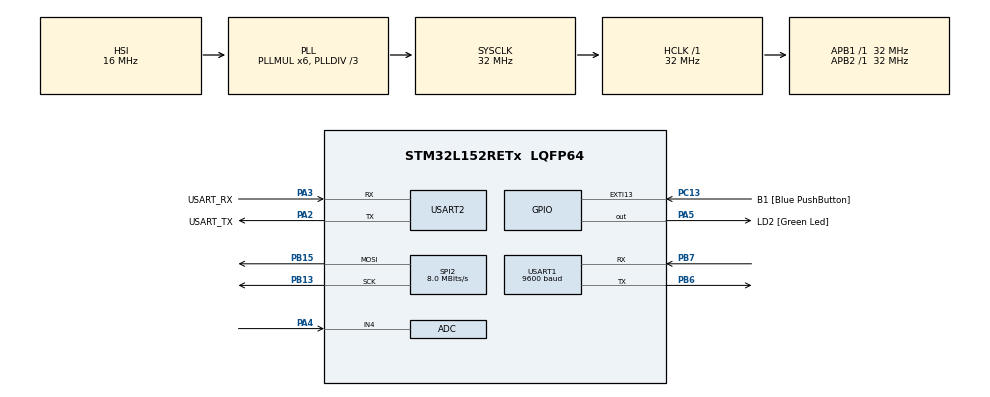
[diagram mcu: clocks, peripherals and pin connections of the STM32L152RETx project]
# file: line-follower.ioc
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ADC.Channel-0\#ChannelRegularConversion=ADC_CHANNEL_4
ADC.NbrOfConversionFlag=1
ADC.Rank-0\#ChannelRegularConversion=1
ADC.SamplingTime-0\#ChannelRegularConversion=ADC_SAMPLETIME_4CYCLES
Mcu.Family=STM32L1
Mcu.Name=STM32L152RETx
Mcu.Package=LQFP64
NVIC.PriorityGroup=NVIC_PRIORITYGROUP_0
NVIC.USART1_IRQn=true\:0\:0\:false\:false\:true\:true\:true\:true
PA13.GPIO_Label=TMS
PA13.Mode=Serial_Wire
PA13.Signal=SYS_JTMS-SWDIO
PA14.GPIO_Label=TCK
PA14.Mode=Serial_Wire
PA14.Signal=SYS_JTCK-SWCLK
PA2.GPIO_Label=USART_TX
PA2.Mode=Asynchronous
PA2.Signal=USART2_TX
PA3.GPIO_Label=USART_RX
PA3.Mode=Asynchronous
PA3.Signal=USART2_RX
PA4.Mode=IN4
PA4.Signal=ADC_IN4
PA5.GPIO_Label=LD2 [Green Led]
PA5.Signal=GPIO_Output
PB13.Mode=TX_Only_Simplex_Unidirect_Master
PB13.Signal=SPI2_SCK
PB15.Mode=TX_Only_Simplex_Unidirect_Master
PB15.Signal=SPI2_MOSI
PB3.GPIO_Label=SWO
PB3.Signal=SYS_JTDO-TRACESWO
PB6.Mode=Asynchronous
PB6.Signal=USART1_TX
PB7.Mode=Asynchronous
PB7.Signal=USART1_RX
PC13-WKUP2.GPIO_Label=B1 [Blue PushButton]
PC13-WKUP2.Signal=GPXTI13
PC14-OSC32_IN.Mode=LSE-External-Oscillator
PC14-OSC32_IN.Signal=RCC_OSC32_IN
PC15-OSC32_OUT.Mode=LSE-External-Oscillator
PC15-OSC32_OUT.Signal=RCC_OSC32_OUT
PH0-OSC_IN.Mode=HSE-External-Clock-Source
PH0-OSC_IN.Signal=RCC_OSC_IN
PH1-OSC_OUT.Signal=RCC_OSC_OUT
ProjectManager.HeapSize=0x200
ProjectManager.StackSize=0x400
ProjectManager.TargetToolchain=STM32CubeIDE
RCC.48MHZClocksFreq_Value=48000000
RCC.AHBFreq_Value=32000000
RCC.APB1Freq_Value=32000000
RCC.APB1TimFreq_Value=32000000
RCC.APB2Freq_Value=32000000
RCC.APB2TimFreq_Value=32000000
RCC.HCLKFreq_Value=32000000
RCC.HSE_VALUE=8000000
RCC.HSI_VALUE=16000000
RCC.MSI_VALUE=2097000
RCC.PLLDIV=RCC_PLL_DIV3
RCC.PLLMUL=RCC_PLL_MUL6
RCC.RTCClockSelectionVirtual=RCC_RTCCLKSOURCE_LSE
RCC.SYSCLKFreq_VALUE=32000000
RCC.SYSCLKSource=RCC_SYSCLKSOURCE_PLLCLK
RCC.USBOutput=48000000
RCC.VCOOutputFreq_Value=96000000
SPI2.BaudRatePrescaler=SPI_BAUDRATEPRESCALER_4
SPI2.CLKPhase=SPI_PHASE_1EDGE
SPI2.CLKPolarity=SPI_POLARITY_LOW
SPI2.CalculateBaudRate=8.0 MBits/s
SPI2.DataSize=SPI_DATASIZE_16BIT
SPI2.Direction=SPI_DIRECTION_2LINES
SPI2.Mode=SPI_MODE_MASTER
SPI2.VirtualType=VM_MASTER
USART1.BaudRate=9600
USART1.VirtualMode=VM_ASYNC
USART2.VirtualMode=VM_ASYNC
VP_TIM2_VS_ClockSourceINT.Mode=Internal
VP_TIM3_VS_ClockSourceINT.Mode=Internal
VP_TIM4_VS_ClockSourceINT.Mode=Internal
board=NUCLEO-L152RE

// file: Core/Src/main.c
/* USER CODE BEGIN Header */
/**
 ******************************************************************************
 * @file           : main.c
 * @brief          : Main program body
 ******************************************************************************
 */
/* USER CODE END Header */
#include "main.h"

/* USER CODE BEGIN Includes */
#include <inttypes.h>
#include <stdbool.h>

#ifdef PRINT_DEBUG
#include <stdio.h>
#endif
/* USER CODE END Includes */

/* USER CODE BEGIN PTD */

typedef enum { MOTOR_STOP, MOTOR_FORWARD, MOTOR_BACKWARD } MotorState;

typedef enum { BUZZER_ON, BUZZER_OFF, BUZZER_INTERMITTENT } BuzzerMode;

typedef enum { MODE_MANUAL, MODE_AUTOMATIC } OperationMode;

/* USER CODE END PTD */

/* USER CODE BEGIN PD */

// TIM4 is set up with a PSC of 31999, meaning that it will increase
// in count once every 1ms
//
// Toggle buzzer once every 0.3s
#define BUZZER_TOGGLE_TIME 300
// Run the ADC once every 0.2s
#define ADC_TRIGGER_TIME 200

// MAX and MIN values are chosen by MAX being the maximum resolution
// of the ADC that has been set and MIN can be any arbitrary number
// between MAX and 0. The combination of both is used to control
// possible speed values of the motors
#define MAX_SPEED_CONTROL_VALUE 1024
#define MIN_SPEED_CONTROL_VALUE 350
// LED matrix display brightness. 0-F.
#define DISPLAY_BRIGHTNESS 0
#define DISPLAY_TX_TIMEOUT 1

#define UART_BUFFER_SIZE 10
#define UART_TIMEOUT 10

#define REPORT_MSG_MAX_LENGTH 64

#define HALF_RPMS_PER_TIM2_TICK 150000
// HALF_RPMS_PER_TIM2_TICK is calculated as:
//        DISC_SLITS = 20
//        TIM2_TICK_uS = (1e6 * (TIM2_PSC + 1) / 32e6)
//        RPMS_PER_TIM2_TICK = 1e6 * 60 / (DISC_SLITS * TIM2_TICK_uS) = 30000
//        HALF_RPMS_PER_TIM2_TICK = RPMS_PER_TIM2_TICK / 2 = 150000

/* USER CODE END PD */

ADC_HandleTypeDef hadc;

SPI_HandleTypeDef hspi2;

TIM_HandleTypeDef htim2;
TIM_HandleTypeDef htim3;
TIM_HandleTypeDef htim4;

UART_HandleTypeDef huart1;
UART_HandleTypeDef huart2;

/* USER CODE BEGIN PV */

// Report templates
static const char* TEMPLATE_STATUS = "($M) $L : $R @ $p% of $s ($l : $r rpm)\n";
static const char* TEMPLATE_STATUS_SHORT = "$M>$L:$R@$p%$s($l:$r)\n";

// Display designs
static const uint64_t speedometer_display[8] = {
    0x3804022222222438,  // speedometer_1.txt
    0x3804022222120c38,  // speedometer_2.txt
    0x38040222120a0438,  // speedometer_3.txt
    0x380402221e020438,  // speedometer_4.txt
    0x3804021e22020438,  // speedometer_5.txt
    0x38040a1222020438,  // speedometer_6.txt
    0x380c122222020438,  // speedometer_7.txt
    0x3824222222020438,  // speedometer_8.txt
};

OperationMode current_mode = MODE_MANUAL;
MotorState right_motor_state = MOTOR_STOP;
MotorState left_motor_state = MOTOR_STOP;
uint8_t speed_modifier = 100;  // value range is [0, 100] (both inclusive)
uint16_t current_speed = 0;    // value range is defined by MAX/MIN_SPEED_CONTROL_VALUE
// Not expecting these to go over 255...
uint8_t measured_rpm_right = 0;
uint8_t measured_rpm_left = 0;

char uart1_receive_buffer[UART_BUFFER_SIZE];
char uart1_receive_byte = 0;
uint8_t uart1_receive_buffer_index = 0;

/* USER CODE END PV */

void SystemClock_Config(void);
static void MX_GPIO_Init(void);
static void MX_USART1_UART_Init(void);
static void MX_USART2_UART_Init(void);
static void MX_ADC_Init(void);
static void MX_SPI2_Init(void);
static void MX_TIM2_Init(void);
static void MX_TIM3_Init(void);
static void MX_TIM4_Init(void);

/* USER CODE BEGIN 0 */
#if PRINT_DEBUG
// Provide a _write that printf and similar will use to write to serial
int _write(int file, char* message, int len) {
    HAL_UART_Transmit(&huart2, (uint8_t*) message, len, 1000);
    return len;
}
#else
// An empty define will make is that any uses of printf will just
// be consumed and treated as noop calls
#define printf
#endif  // PRINT_DEBUG

// All these inline static functions are short pieces of code used in more
// than one place. As such, and to streamline potentially updating their functionality,
// they are extracted in code, but inlined at compile time to avoid any runtime penalties
// from function calls.

inline __attribute__((always_inline)) void display_send(
    SPI_HandleTypeDef* hspi, GPIO_TypeDef* cs_port, uint8_t cs_pin, uint16_t data
) {
    cs_port->BSRR |= 1 << (cs_pin + 16);  // Reset pin -> LOW -> Chip Selected
    // HAL_SPI_Transmit signature doesn't change based on whether 16 bit words or
    // 8 bit words is selected, but the functionality does. Actually, the function
    // is a pointer to 16 bit, not 8. The cast is used to silence the warning.
    HAL_SPI_Transmit(hspi, (uint8_t*) (&data), 1, DISPLAY_TX_TIMEOUT);
    cs_port->BSRR |= 1 << cs_pin;  // Set pin -> HIGH -> Chip Deselected
}

/**
 * @brief Send a pattern to display on an 8x8 LED matrix found through hspi. Expects SPI and GPIO set up.
 * @param hspi SPI Handler from HAL
 * @param pattern 8-byte pattern containing the on-pattern to be displayed. Each byte corresponds to one
 * column and each bit in the byte corresponds to one one row. The order in the pattern is left-to-right,
 * top-to-bottom in in Big-endian reading order (MSB first)
 */
inline __attribute__((always_inline)) void display_draw(
    SPI_HandleTypeDef* hspi, GPIO_TypeDef* cs_port, uint8_t cs_pin, uint64_t pattern
) {
    // Each column is addressed by setting the column number (1..8) in the third half-byte, and the
    // content in the first byte.
    // For a pattern 0xABCDEFGHIJKLMNOP, we will send 0x01AB, 0x02CD, 0x03EF, 0x04GH, 0x05IJ, 0x06KL, etc.
    uint8_t* lines = (uint8_t*) &pattern;
    for (uint8_t i = 1; i <= 8; i++) {  // Loop through the columns 1..8
        uint16_t pattern_instruction = (i << 8) | lines[i - 1];
        display_send(hspi, cs_port, cs_pin, pattern_instruction);
    }
}

inline static __attribute__((always_inline)) void sleep(unsigned short milliseconds) {
    // TIM4 CH1 is used for sleeps, which MUST have been setup by the time this is used.
    // It must be setup with millisecond precision (PSC = 31999)
    //
    // Setup counter with value to reach
    TIM4->CCR1 = TIM4->CNT + milliseconds;  // Set value to reach
    TIM4->SR &= ~0b10;                      // Clear any lingering events

    // Wait
    while ((TIM4->SR & 0b10) == 0) {}

    // Clear event
    TIM4->SR &= ~0b10;
}

// This is optimized correctly and adds clarity
inline static __attribute__((always_inline)) void set_buzzer(BuzzerMode status) {
    TIM4->CCMR2 &= ~(0x00FF);  // Clear CH3 info

    // Set OCEM to 0b100 (low) to turn buzzer ON, to 0b101 (high) to turn it OFF
    // It is also initially turned ON for INTERMITTENT mode
    TIM4->CCMR2 |= (status == BUZZER_OFF ? 0b101 : 0b100) << 4;

    if (status == BUZZER_INTERMITTENT) {
        // Setup periodic changes
        TIM4->CCR3 = TIM4->CNT + BUZZER_TOGGLE_TIME;  // Set the value to reach
        TIM4->CCMR2 &= ~(0x00FF);                     // Clear CH3 info
        TIM4->CCMR2 |= 0b011 << 4;                    // OC3M = 011 (toggle external output)
    }
}

/**
 * @brief Update the robot's feedback systems. These include the buzzer, LED matrix, and Bluetooth
 * notifications
 */
inline static __attribute__((always_inline)) void update_feedback() {
    if (right_motor_state == left_motor_state) {
        // Both motors are in the same state -> either Forward, Backward or Stopped
        // Reading one motor's status is enough from this point on.
        //
        // Splitting with an IF allows for nicer compiler optimizations in each of the paths
        if (right_motor_state == MOTOR_FORWARD) {
            set_buzzer(BUZZER_OFF);
            HAL_UART_Transmit(&huart1, (uint8_t*) "Moving forward\n", 15, UART_TIMEOUT);
        } else {
            set_buzzer(BUZZER_ON);
            HAL_UART_Transmit(&huart1, (uint8_t*) "Stopped\n", 8, UART_TIMEOUT);
        }
    } else {
        set_buzzer(BUZZER_INTERMITTENT);

        const char* msg = right_motor_state == MOTOR_FORWARD ? "Turning left \n" : "Turning right\n";
        HAL_UART_Transmit(&huart1, (uint8_t*) msg, 14, UART_TIMEOUT);
    }
}

inline static __attribute__((always_inline)) void update_right_motor() {
    switch (right_motor_state) {
        case MOTOR_FORWARD:
            TIM3->CCR3 = current_speed * speed_modifier / 100;
            TIM3->CCR4 = 0;
            break;
        case MOTOR_BACKWARD:
            TIM3->CCR3 = 0;
            TIM3->CCR4 = current_speed * speed_modifier / 100;
            break;
        default:
            TIM3->CCR3 = 0;
            TIM3->CCR4 = 0;
            measured_rpm_right = 0;
            break;
    }
}

inline static __attribute__((always_inline)) void update_left_motor() {
    switch (left_motor_state) {
        case MOTOR_FORWARD:
            TIM3->CCR1 = current_speed * speed_modifier / 100;
            TIM3->CCR2 = 0;
            break;
        case MOTOR_BACKWARD:
            TIM3->CCR1 = 0;
            TIM3->CCR2 = current_speed * speed_modifier / 100;
            break;
        default:
            TIM3->CCR1 = 0;
            TIM3->CCR2 = 0;
            measured_rpm_left = 0;
            break;
    }
}

inline static __attribute__((always_inline)) void right_ir_update() {
    right_motor_state = ((GPIOC->IDR & (1 << 1)) == 0) ? MOTOR_FORWARD : MOTOR_STOP;
}

inline static __attribute__((always_inline)) void left_ir_update() {
    left_motor_state = ((GPIOC->IDR & (1 << 2)) == 0) ? MOTOR_FORWARD : MOTOR_STOP;
}

inline static __attribute__((always_inline)) void set_manual_mode() {
    current_mode = MODE_MANUAL;

    GPIOA->BSRR = 1 << 5;  // Turn on indicator LED
    // IMPORTANT: When setting ICER, do not use any bitwise operators or the
    // whole registry will get flushed!!
    NVIC->ICER[0] = 1 << 7;  // Disable EXTI1 handler (IR1)
    NVIC->ICER[0] = 1 << 8;  // Disable EXTI2 handler (IR2)

    // Stop motors
    right_motor_state = MOTOR_STOP;
    left_motor_state = MOTOR_STOP;
    update_right_motor();
    update_left_motor();
    // Disable the buzzer
    TIM4->CCMR2 &= ~(0x00FF);   // Clear CH3 info
    TIM4->CCMR2 |= 0b101 << 4;  // Force output to high (101) -> turn buzzer off
}

inline static __attribute__((always_inline)) void set_automatic_mode() {
    current_mode = MODE_AUTOMATIC;

    GPIOA->BSRR = 1 << (5 + 16);  // Turn off indicator LED
    NVIC->ISER[0] = 1 << 7;       // Enable EXTI1 handler (IR1)
    NVIC->ISER[0] = 1 << 8;       // Enable EXTI2 handler (IR2)

    // Initial update
    right_ir_update();
    left_ir_update();
    update_right_motor();
    update_left_motor();
    update_feedback();
}

/**
 * @brief Send a status report over UART1
 *
 * @param template A string template for the report sent. The following fields are supported:
 * $M -> Operating mode: A|M (len=1)
 * $L -> Left motor status: -1|0|1 (len=2)
 * $R -> Right motor status: -1|0|1 (len=2)
 * $l -> Left motor rpm: [0..99] (len=2)
 * $r -> Right motor rpm: [0..99] (len=2)
 * $s -> Speed value from potentiometer: [MIN..MAX] (len=4)
 * $p -> Speed modifier: [0..100] (len=3)
 */
inline static __attribute__((always_inline)) void send_status_report(const char* template) {
    char msg[REPORT_MSG_MAX_LENGTH];

    uint16_t n = 0;  // Number of characters set

    for (int i = 0; template[i] != '\0'; i++) {
        if (template[i] != '$') {  // Not a field -> Copy the character into out
            msg[n++] = template[i];
            continue;  // Having an early continue reduces indentation
        }
        // Field replacing
        switch (template[++i]) {
            case 'M':
                msg[n++] = (current_mode == MODE_MANUAL) ? 'M' : 'A';
                break;
            case 'L':
                msg[n++] = (left_motor_state == MOTOR_BACKWARD) ? '-' : ' ';
                msg[n++] = (left_motor_state == MOTOR_STOP) ? '0' : '1';
                break;
            case 'R':
                msg[n++] = (right_motor_state == MOTOR_BACKWARD) ? '-' : ' ';
                msg[n++] = (right_motor_state == MOTOR_STOP) ? '0' : '1';
                break;
            case 'l':
                msg[n++] = measured_rpm_left / 10 + '0';
                msg[n++] = measured_rpm_left % 10 + '0';
                break;
            case 'r':
                msg[n++] = measured_rpm_right / 10 + '0';
                msg[n++] = measured_rpm_right % 10 + '0';
                break;
            case 'p':
                msg[n++] = (speed_modifier == 100) ? '1' : ' ';
                msg[n++] = (speed_modifier < 10) ? ' ' : (speed_modifier / 10) % 10 + '0';
                msg[n++] = (speed_modifier % 10) + '0';
                break;
            case 's':
                msg[n++] = (current_speed < 1000) ? ' ' : current_speed / 1000 + '0';
                msg[n++] = (current_speed < 100) ? ' ' : (current_speed / 100) % 10 + '0';
                msg[n++] = (current_speed < 10) ? ' ' : (current_speed / 10) % 10 + '0';
                msg[n++] = current_speed % 10 + '0';
                break;
            default:
                msg[n++] = '?';
                break;
        }
    }

    HAL_UART_Transmit(&huart1, (uint8_t*) msg, n, UART_TIMEOUT);
}

// UART1 is the bluetooth module
void HAL_UART_RxCpltCallback(UART_HandleTypeDef* huart) {
    uart1_receive_buffer[uart1_receive_buffer_index++] = uart1_receive_byte;
    HAL_UART_Receive_IT(huart, (uint8_t*) &uart1_receive_byte, 1);

    if (uart1_receive_buffer_index + 1 >= UART_BUFFER_SIZE) {
        // Unexpected: we received too many bytes, so just "flush" the data and do nothing with it
        uart1_receive_buffer_index = 0;
        return;
    }

    if (uart1_receive_byte == '\n') {
        // Switches should be efficient enough as they are precomputed gotos
        //
        // Possible commands are:
        //    'f' -> go forwards
        //    'b' -> go backwards
        //    'r' -> turn right
        //    'l' -> turn left
        //    's' -> stop motors
        //    'v{value}' -> Set speed to {value}
        switch (uart1_receive_buffer[0]) {
            case 'f':
                right_motor_state = MOTOR_FORWARD;
                left_motor_state = MOTOR_FORWARD;
                break;
            case 'b':
                right_motor_state = MOTOR_BACKWARD;
                left_motor_state = MOTOR_BACKWARD;
                break;
            case 'r':
                right_motor_state = MOTOR_BACKWARD;
                left_motor_state = MOTOR_FORWARD;
                break;
            case 'l':
                right_motor_state = MOTOR_FORWARD;
                left_motor_state = MOTOR_BACKWARD;
                break;
            case 's':
                right_motor_state = MOTOR_STOP;
                left_motor_state = MOTOR_STOP;
                break;
            case 'v':
                // Extract the number after the 'v'
                uint8_t num = strtoumax((char*) uart1_receive_buffer + 1, NULL, 10);

                if (num <= 100) {
                    speed_modifier = num;
                } else {
                    HAL_UART_Transmit(&huart1, (uint8_t*) "ERR:2\n", 6, UART_TIMEOUT);
                }
                break;
            case 'm':
                set_manual_mode();
                break;
            case 'a':
                HAL_UART_Transmit(&huart1, (uint8_t*) "Starting!\n", 10, UART_TIMEOUT);
                set_automatic_mode();
                break;
            case '?':
                send_status_report(TEMPLATE_STATUS);
                break;
            default:
                HAL_UART_Transmit(&huart1, (uint8_t*) "ERR:1\n", 6, UART_TIMEOUT);
                break;
        }

        update_right_motor();
        update_left_motor();

        uart1_receive_buffer_index = 0;
    }
}

// EXTI1 belongs to IR1 (right)
void EXTI1_IRQHandler() {
    EXTI->PR |= 1 << 1;  // Flag is cleared first because the IR are really finicky and
                         // they will fire several times. This way, we can ensure we don't
                         // end up with the wrong state, as EXTI will notice any other changes
                         // while we compute anything

    right_ir_update();
    update_right_motor();
    update_feedback();
}

// EXTI2 belongs to IR2 (left)
void EXTI2_IRQHandler() {
    EXTI->PR |= 1 << 2;  // Flag is cleared first because the IR are really finicky and
                         // will fire multiple times per change. Setting the flag first
                         // ensures the EXTI will warn us about any changes that can
                         // happen during the handling of the event, as well as
                         // not reading wrong information from the IDR

    left_ir_update();
    update_left_motor();
    update_feedback();
}

void ADC1_IRQHandler() {
    // Limit the value to not go lower than MIN_ADC_VALUE
    current_speed = ADC1->DR < MIN_SPEED_CONTROL_VALUE ? MIN_SPEED_CONTROL_VALUE : ADC1->DR;

    uint8_t level = (current_speed - MIN_SPEED_CONTROL_VALUE) /
                    ((MAX_SPEED_CONTROL_VALUE - MIN_SPEED_CONTROL_VALUE) / 8 + 1);

    display_draw(&hspi2, GPIOB, 1, speedometer_display[level]);

    update_right_motor();
    update_left_motor();
}

void TIM2_IRQHandler() {
    // Used so we can actually measure time lapsed
    static uint16_t count_start_left;
    static uint16_t count_start_right;
    // Used to average out the last two recorded intervals
    static uint16_t last_interval_left;
    static uint16_t last_interval_right;
    // This is where the current measurement will be stored
    uint16_t interval;

    if (TIM2->SR & 1 << 3) {
        // Channel 3 (left optocoupler) triggered

        // Must account for timer rolling over
        interval = (TIM2->CCR3 > count_start_left ? 0 : 0xFFFF) + TIM2->CCR3 - count_start_left;

        // Since we're averaging the last two measurements, we'll halve the factor.
        measured_rpm_left = HALF_RPMS_PER_TIM2_TICK / (interval + last_interval_left);

        last_interval_left = interval;
        count_start_left = TIM2->CNT;

        TIM2->SR &= ~(1 << 3);  // Clear flag

    } else if (TIM2->SR & (1 << 4)) {
        // Channel 4 (right optocoupler) triggered

        // Must account for timer rolling over
        interval = (TIM2->CCR4 > count_start_right ? 0 : 0xFFFF) + TIM2->CCR4 - count_start_right;

        // Since we're averaging the last two measurements, we'll halve the factor.
        measured_rpm_right = HALF_RPMS_PER_TIM2_TICK / (interval + last_interval_right);

        last_interval_right = interval;
        count_start_right = TIM2->CNT;

        TIM2->SR &= ~(1 << 4);  // Clear flag
    }
}

void TIM4_IRQHandler() {
    if (TIM4->SR & (1 << 2)) {
        // Channel 2 (ADC trigger) finished
        TIM4->CCR2 = TIM4->CNT + ADC_TRIGGER_TIME;  // Reschedule the timer
        ADC1->CR2 |= 0x40000000;                    // Start the conversion

        TIM4->SR &= ~(1 << 2);  // Clear flag
    } else if (TIM4->SR & (1 << 3)) {
        // Channel 3 (buzzer toggle) finished
        TIM4->CCR3 = TIM4->CNT + BUZZER_TOGGLE_TIME;  // Reschedule the timer

        TIM4->SR &= ~(1 << 3);  // Clear flag
    }
}

/* USER CODE END 0 */

int main(void) {

    /* MCU Configuration--------------------------------------------------------*/

    /* Reset of all peripherals, Initializes the Flash interface and the Systick. */
    HAL_Init();

    /* Configure the system clock */
    SystemClock_Config();

    /* Initialize all configured peripherals */
    MX_GPIO_Init();
    MX_USART1_UART_Init();
    MX_USART2_UART_Init();
    MX_ADC_Init();
    MX_SPI2_Init();
    MX_TIM2_Init();
    MX_TIM3_Init();
    MX_TIM4_Init();
    /* USER CODE BEGIN 2 */

    ////////////////
    // GPIO SETUP //
    ////////////////
    // Digital Input      - 00
    // Digital Output     - 01
    // Alternate Function - 10
    // Analog             - 11

    // IN1 - left wheel forward - Alternate Function (linked to TIMER3 CH1 [AF2])
    GPIOC->MODER |= 1 << (6 * 2 + 1);
    GPIOC->MODER &= ~(1 << (6 * 2));
    GPIOC->AFR[0] |= 0x02 << (6 * 4);
    // IN2 - left wheel backwards - Alternate Function (linked to TIMER3 CH2 [AF2])
    GPIOC->MODER |= 1 << (7 * 2 + 1);
    GPIOC->MODER &= ~(1 << (7 * 2));
    GPIOC->AFR[0] |= 0x02 << (7 * 4);
    // IN3 - right wheel forward - Alternate Function (linked to TIMER3 CH3 [AF2])
    GPIOC->MODER |= 1 << (8 * 2 + 1);
    GPIOC->MODER &= ~(1 << (8 * 2));
    GPIOC->AFR[1] |= 0x02;
    // IN4 - right wheel backwards - Alternate Function (linked to TIMER3 CH4 [AF2])
    GPIOC->MODER |= 1 << (9 * 2 + 1);
    GPIOC->MODER &= ~(1 << (9 * 2));
    GPIOC->AFR[1] |= 0x02 << (1 * 4);

    // IR 1 (right) - Digital Input
    GPIOC->MODER &= ~(1 << (1 * 2 + 1));
    GPIOC->MODER &= ~(1 << (1 * 2));
    // IR 2 (left) - Digital Input
    GPIOC->MODER &= ~(1 << (2 * 2 + 1));
    GPIOC->MODER &= ~(1 << (2 * 2));

    // PB10 - Left optocoupler speed sensor - Alternate Function (linked to TIMER2 CH3 [AF1])
    GPIOB->MODER |= 1 << (10 * 2 + 1);
    GPIOB->MODER &= ~(1 << (10 * 2));
    GPIOB->AFR[1] |= 0x01 << (2 * 4);
    // PB11 - Right optocoupler speed sensor - Alternate Function (linked to TIMER2 CH4 [AF1])
    GPIOB->MODER |= 1 << (11 * 2 + 1);
    GPIOB->MODER &= ~(1 << (11 * 2));
    GPIOB->AFR[1] |= 0x01 << (3 * 4);

    // Potentiometer input - Analog
    GPIOA->MODER |= 1 << (4 * 2 + 1);
    GPIOA->MODER |= 1 << (4 * 2);

    // Buzzer - Alternate Function (linked to TIMER4 CH3 [AF2])
    GPIOB->MODER |= 1 << (8 * 2 + 1);
    GPIOB->MODER &= ~(1 << (8 * 2));
    GPIOB->AFR[1] |= 0x02;

    // User button - Digital Input
    GPIOC->MODER &= ~(1 << (13 * 2 + 1));
    GPIOC->MODER &= ~(1 << (13 * 2));

    // Green LED - Digital Output
    GPIOA->MODER &= ~(1 << (5 * 2 + 1));
    GPIOA->MODER |= 1 << (5 * 2);

    // LED Matrix Chip Select - Digital Output
    GPIOB->MODER &= ~(1 << (1 * 2 + 1));
    GPIOB->MODER |= 1 << (1 * 2);

    ////////////////
    // EXTI SETUP //
    ////////////////

    // IR 1 (PC1)
    SYSCFG->EXTICR[0] &= ~(0b1111 << 4);  // Reset EXTI1 settings
    SYSCFG->EXTICR[0] |= 0b0010 << 4;     // Associate PC1 its EXTI (EXTI1)
    EXTI->RTSR |= 1 << 1;                 // Enable rising edge for EXTI1
    EXTI->FTSR |= 1 << 1;                 // Enable falling edge for EXTI1
    EXTI->IMR |= 1 << 1;                  // Unmask EXTI1
    // Interrupt handler is enabled/disabled based on working mode

    // IR 2 (PC2)
    SYSCFG->EXTICR[0] &= ~(0b1111 << 8);  // Reset EXTI2 settings
    SYSCFG->EXTICR[0] |= 0b0010 << 8;     // Associate PC2 its EXTI (EXTI2)
    EXTI->RTSR |= 1 << 2;                 // Enable rising edge for EXTI2
    EXTI->FTSR |= 1 << 2;                 // Enable falling edge for EXTI2
    EXTI->IMR |= 1 << 2;                  // Unmask EXTI2
    // Interrupt handler enabled/disabled based on working mode

    ///////////////////////
    // ADC CONFIGURATION //
    ///////////////////////
    ADC1->CR2 &= ~(0x00000001);  // ADON = 0 (ADC powered off)
    ADC1->CR1 = 0x01000020;      // OVRIE = 0 (Overrun IRQ disabled)
                                 // RES = 01 (resolution = 10 bits)
                                 // SCAN = 0 (scan mode disabled)
                                 // EOCIE = 1 (EOC IRQ enabled)
    ADC1->CR2 = 0x00000400;      // EOCS = 1 (EOC to be activated after each conversion)
                                 // DELS = 000 (no delay)
                                 // CONT = 0 (single conversion)
                                 //   Conversions are started based on TIM4 CH2
    ADC1->SQR1 = 0x00000000;     // 1 channel in the sequence
    ADC1->SQR5 = 0x00000004;     // Channel is AIN4
    ADC1->CR2 |= 0x00000001;     // ADON = 1 (ADC powered on)
    NVIC->ISER[0] = 1 << 18;     // Enable the ADC interrupt

    while ((ADC1->SR & 0x0040) == 0) {}  // Wait for the converter to be ready
    // Conversion will be started by timer

    ////////////////
    // TIM2 SETUP //
    ////////////////
    // Used for optical speed measurement
    TIM2->CR1 = 0x0000;   // CKD, CMS, DIR, OPM, URS, UDIS = 0
                          // ARPE = 0 (ARR not used)
                          // CEN = 0 (will be enabled later when needed)
    TIM2->CR2 = 0x0000;   // Unused, recommended to set to 0x0000
    TIM2->PSC = 319;      // Usually 319 to allow for 0.01 milliseconds precision and up to 650 ms interval
    TIM2->SMCR = 0x0000;  // Unused, recommended to set to 0x0000
    TIM2->ARR = 0xFFFF;   // Unused, recommended to set to 0xFFFF

    // Channel 3
    // Linked to PB10 (left optocoupler)
    TIM2->CCMR2 &= ~(0xFF);         // Clear CH3 info
    TIM2->CCMR2 |= 0b01;            // CC3S = 01 (TIC)
                                    // IC3F, IC1PSC = 0 (as advised)
    TIM2->CCER &= ~(0xF << 2 * 4);  // Clear CH3 info
    TIM2->CCER |= 0b0001 << 2 * 4;  // CC3E = 1 (capture enabled)
                                    // CC3NP:CC3P = 00 (rising edge)
    TIM2->DIER |= 1 << 3;           // CC3IE = 1 (enable IRQ)

    // Channel 4
    // Linked to PB11 (right optocoupler)
    TIM2->CCMR2 &= ~(0xFF << 8);    // Clear CH1 info
    TIM2->CCMR2 |= 0b01 << 8;       // CC4S = 01 (TIC)
                                    // IC4F, IC1PSC = 0 (as advised)
    TIM2->CCER &= ~(0xF << 3 * 4);  // Clear CH4 info
    TIM2->CCER |= 0b0001 << 3 * 4;  // CC4E = 1 (capture enabled)
                                    // CC4NP:CC3P = 00 (rising edge)
    TIM2->DIER |= 1 << 4;           // CC4IE = 1 (enable IRQ)

    TIM2->SR = 0;              // Clear any lingering flags
    TIM2->EGR |= 1;            // Generate a register update
    NVIC->ISER[0] |= 1 << 28;  // Enable TIMER4 callback
    TIM2->CR1 |= 1;            // Enable the timer

    ////////////////
    // TIM3 SETUP //
    ////////////////
    TIM3->CR1 = 0x0080;                   // CKD, CMS, DIR, OPM, URS, UDIS = 0
                                          // ARPE = 1 (ARR used)
                                          // CEN = 0 (will be enabled later when needed)
    TIM3->CR2 = 0x0000;                   // Unused, recommended to set to 0x0000
    TIM3->PSC = 319;                      // Allow for sub millisecond precision (0.01 ms precision)
                                          // Allows us to control the motors with proper precision
    TIM3->SMCR = 0x0000;                  // Unused, recommended to set to 0x0000
    TIM3->ARR = MAX_SPEED_CONTROL_VALUE;  // Set to the max value the ADC will output
    TIM3->CNT = 0;                        // Initialize counter at 0
    TIM3->DIER = 0x0000;                  // Disable IRQ for when channels are finished counting

    // Channel 1
    //
    // Linked to PC6
    TIM3->CCR1 = 0;              // Start CCR1 at 0
    TIM3->CCMR1 &= ~(0x00FF);    // Clear CH1 info
    TIM3->CCMR1 |= 0b1101 << 3;  // CC1S = 00 (PWM)
                                 // OC1M = 110 (start PWM high)
                                 // OC1PE = 1 (enable preload)
    TIM3->CCER |= 0b0001;        // CC1NP = 0 (PWM)
                                 // CC1P = 0 (PWM)
                                 // CC1E = 1 (external output enabled)

    // Channel 2
    //
    // Linked to PC7
    TIM3->CCR2 = 0;                    // Start CCR2 at 0
    TIM3->CCMR1 &= ~(0xFF00);          // Clear CH2 info
    TIM3->CCMR1 |= 0b1101 << (3 + 8);  // CC2S = 00 (PWM)
                                       // OC2M = 110 (start PWM high)
                                       // OC2PE = 1 (enable preload)
    TIM3->CCER |= 0b0001 << 4;         // CC2NP = 0 (PWM)
                                       // CC2P = 0 (PWM)
                                       // CC2E = 1 (external output enabled)

    // Channel 3
    //
    // Linked to PC8
    TIM3->CCR3 = 0;                   // Start CCR3 at 0
    TIM3->CCMR2 &= ~(0x00FF);         // Clear CH3 info
    TIM3->CCMR2 |= 0b1101 << 3;       // CC3S = 00 (PWM)
                                      // OC3M = 110 (start PWM high)
                                      // OC3PE = 1 (enable preload)
    TIM3->CCER |= 0b0001 << (4 * 2);  // CC3NP = 0 (PWM)
                                      // CC3P = 0 (PWM)
                                      // CC3E = 1 (external output enabled)

    // Channel 4
    //
    // Linked to PC9
    TIM3->CCR4 = 0;                    // Start CCR4 at 0
    TIM3->CCMR2 &= ~(0xFF00);          // Clear CH4 info
    TIM3->CCMR2 |= 0b1101 << (3 + 8);  // CC4S = 00 (PWM)
                                       // OC4M = 110 (start PWM high)
                                       // OC4PE = 1 (enable preload)
    TIM3->CCER |= 0b0001 << (4 * 3);   // CC4NP = 0 (PWM)
                                       // CC4P = 0 (PWM)
                                       // CC4E = 1 (external output enabled)

    TIM3->SR = 0;    // Clear any lingering flags
    TIM3->EGR |= 1;  // Generate a register update
    TIM3->CR1 |= 1;  // Enable the timer

    ////////////////
    // TIM4 SETUP //
    ////////////////
    TIM4->CR1 = 0x0000;   // CKD, CMS, DIR, OPM, URS, UDIS = 0
                          // ARPE = 0 (ARR not used)
                          // CEN = 0 (will be enabled later when needed)
    TIM4->CR2 = 0x0000;   // Unused, recommended to set to 0x0000
    TIM4->PSC = 31999;    // Allow for millisecond precision
                          // IF THIS IS EVER CHANGED FOR ANY REASON, ADJUST `BUZZER_TOGGLE_TIME` TOO
    TIM4->SMCR = 0x0000;  // Unused, recommended to set to 0x0000
    TIM4->ARR = 0xFFFF;   // Unused, recommended to set to 0xFFFF

    // Channel 1
    //
    // Used in the `sleep` function
    TIM4->CCR1 = 0;           // Start counter at 0
    TIM4->DIER &= ~(1 << 1);  // CC2IE = 0 (do not generate an IRQ when reached)
    TIM4->CCMR1 &= ~0x00FF;   // CC1S = 0 (TOC)
                              // OC1M = 000 (Frozen output)
                              // OC1PE = 0 (no preload)
    TIM4->CCER &= ~0b1011;    // CC1NP = 0 (TOC)
                              // CC1P = 0 (TOC)
                              // CC3E = 0 (external output disabled)

    // Channel 2
    //
    // Used to trigger the ADC periodically
    TIM4->CCR2 = ADC_TRIGGER_TIME;  // Start counter at ADC_TRIGGER_TIME
    TIM4->DIER |= 1 << 2;           // CC2IE = 1 (generate an IRQ when reached)
    TIM4->CCMR1 &= ~0x00FF;         // CC1S = 0 (TOC)
                                    // OC1M = 000 (Frozen output)
                                    // OC1PE = 0 (no preload)
    TIM4->CCER &= ~0b1011;          // CC1NP = 0 (TOC)
                                    // CC1P = 0 (TOC)
                                    // CC3E = 0 (external output disabled)

    // Channel 3
    //
    // Setup as TOC with the output being PB8 (Buzzer)
    TIM4->CCR3 = 0;               // Start counter at 0
    TIM4->DIER |= 1 << 3;         // CC4IE = 1 (generate IRQ when CCR3 is reached)
    TIM4->CCMR2 &= ~(0x00FF);     // Clear CH3 info
    TIM4->CCMR2 |= 0b101 << 4;    // CC3S = 0 (TOC)
                                  // OC3M = 101 (force high -> turn off buzzer)
                                  // OC3PE = 0 (no preload)
    TIM4->CCER &= ~(0b101 << 9);  // CC3NP = 0 (TOC)
                                  // CC3P = 0 (TOC)
    TIM4->CCER |= (1 << 8);       // CC3E = 1 (external output enabled)

    TIM4->SR = 0;             // Clear any lingering flags
    TIM4->EGR |= 1;           // Generate a register update
    NVIC->ISER[0] = 1 << 30;  // Enable TIMER4 callback
    TIM4->CR1 |= 1;           // Enable the timer

    ///////////////
    // SPI SETUP //
    ///////////////
    // Uses PB13 as CLK, PB15 as MOSI, and PB1 as Chip Select
    display_send(&hspi2, GPIOB, 1, 0xA00 | DISPLAY_BRIGHTNESS);  // Set intensity
    display_send(&hspi2, GPIOB, 1, 0xB07);                       // Set scan limit to 7 (full)
    display_send(&hspi2, GPIOB, 1, 0xF00);                       // Disable test mode just in case
    display_draw(&hspi2, GPIOB, 1, 0);                           // Set an empty display
    display_send(&hspi2, GPIOB, 1, 0xC01);                       // Enable display (shutdown off)

    /////////////////
    // UART1 SETUP //
    /////////////////
    // Configuration is done through CubeMX, only thing left is to start reception through callbacks
    HAL_UART_Receive_IT(&huart1, (uint8_t*) &uart1_receive_byte, 1);
    /* USER CODE END 2 */

    /* Infinite loop */
    /* USER CODE BEGIN WHILE */
    set_manual_mode();

    HAL_UART_Transmit(&huart1, (uint8_t*) "Ready\n", 6, UART_TIMEOUT);

    while (true) {
        /* USER CODE END WHILE */

    }
}

void SystemClock_Config(void) {
    RCC_OscInitTypeDef RCC_OscInitStruct = {0};
    RCC_ClkInitTypeDef RCC_ClkInitStruct = {0};

    /** Configure the main internal regulator output voltage
     */
    __HAL_PWR_VOLTAGESCALING_CONFIG(PWR_REGULATOR_VOLTAGE_SCALE1);

    /** Initializes the RCC Oscillators according to the specified parameters
     * in the RCC_OscInitTypeDef structure.
     */
    RCC_OscInitStruct.OscillatorType = RCC_OSCILLATORTYPE_HSI;
    RCC_OscInitStruct.HSIState = RCC_HSI_ON;
    RCC_OscInitStruct.HSICalibrationValue = RCC_HSICALIBRATION_DEFAULT;
    RCC_OscInitStruct.PLL.PLLState = RCC_PLL_ON;
    RCC_OscInitStruct.PLL.PLLSource = RCC_PLLSOURCE_HSI;
    RCC_OscInitStruct.PLL.PLLMUL = RCC_PLL_MUL6;
    RCC_OscInitStruct.PLL.PLLDIV = RCC_PLL_DIV3;
    if (HAL_RCC_OscConfig(&RCC_OscInitStruct) != HAL_OK) {
        Error_Handler();
    }

    /** Initializes the CPU, AHB and APB buses clocks
     */
    RCC_ClkInitStruct.ClockType = RCC_CLOCKTYPE_HCLK | RCC_CLOCKTYPE_SYSCLK | RCC_CLOCKTYPE_PCLK1 |
                                  RCC_CLOCKTYPE_PCLK2;
    RCC_ClkInitStruct.SYSCLKSource = RCC_SYSCLKSOURCE_PLLCLK;
    RCC_ClkInitStruct.AHBCLKDivider = RCC_SYSCLK_DIV1;
    RCC_ClkInitStruct.APB1CLKDivider = RCC_HCLK_DIV1;
    RCC_ClkInitStruct.APB2CLKDivider = RCC_HCLK_DIV1;

    if (HAL_RCC_ClockConfig(&RCC_ClkInitStruct, FLASH_LATENCY_1) != HAL_OK) {
        Error_Handler();
    }
}

static void MX_ADC_Init(void) {

    ADC_ChannelConfTypeDef sConfig = {0};

    /** Configure the global features of the ADC (Clock, Resolution, Data Alignment and number of conversion)
     */
    hadc.Instance = ADC1;
    hadc.Init.ClockPrescaler = ADC_CLOCK_ASYNC_DIV1;
    hadc.Init.Resolution = ADC_RESOLUTION_12B;
    hadc.Init.DataAlign = ADC_DATAALIGN_RIGHT;
    hadc.Init.ScanConvMode = ADC_SCAN_DISABLE;
    hadc.Init.EOCSelection = ADC_EOC_SEQ_CONV;
    hadc.Init.LowPowerAutoWait = ADC_AUTOWAIT_DISABLE;
    hadc.Init.LowPowerAutoPowerOff = ADC_AUTOPOWEROFF_DISABLE;
    hadc.Init.ChannelsBank = ADC_CHANNELS_BANK_A;
    hadc.Init.ContinuousConvMode = DISABLE;
    hadc.Init.NbrOfConversion = 1;
    hadc.Init.DiscontinuousConvMode = DISABLE;
    hadc.Init.ExternalTrigConv = ADC_SOFTWARE_START;
    hadc.Init.ExternalTrigConvEdge = ADC_EXTERNALTRIGCONVEDGE_NONE;
    hadc.Init.DMAContinuousRequests = DISABLE;
    if (HAL_ADC_Init(&hadc) != HAL_OK) {
        Error_Handler();
    }

    /** Configure for the selected ADC regular channel its corresponding rank in the sequencer and its sample
     * time.
     */
    sConfig.Channel = ADC_CHANNEL_4;
    sConfig.Rank = ADC_REGULAR_RANK_1;
    sConfig.SamplingTime = ADC_SAMPLETIME_4CYCLES;
    if (HAL_ADC_ConfigChannel(&hadc, &sConfig) != HAL_OK) {
        Error_Handler();
    }
}

static void MX_SPI2_Init(void) {

    /* SPI2 parameter configuration*/
    hspi2.Instance = SPI2;
    hspi2.Init.Mode = SPI_MODE_MASTER;
    hspi2.Init.Direction = SPI_DIRECTION_2LINES;
    hspi2.Init.DataSize = SPI_DATASIZE_16BIT;
    hspi2.Init.CLKPolarity = SPI_POLARITY_LOW;
    hspi2.Init.CLKPhase = SPI_PHASE_1EDGE;
    hspi2.Init.NSS = SPI_NSS_SOFT;
    hspi2.Init.BaudRatePrescaler = SPI_BAUDRATEPRESCALER_4;
    hspi2.Init.FirstBit = SPI_FIRSTBIT_MSB;
    hspi2.Init.TIMode = SPI_TIMODE_DISABLE;
    hspi2.Init.CRCCalculation = SPI_CRCCALCULATION_DISABLE;
    hspi2.Init.CRCPolynomial = 10;
    if (HAL_SPI_Init(&hspi2) != HAL_OK) {
        Error_Handler();
    }
}

static void MX_TIM2_Init(void) {

    TIM_ClockConfigTypeDef sClockSourceConfig = {0};
    TIM_MasterConfigTypeDef sMasterConfig = {0};

    htim2.Instance = TIM2;
    htim2.Init.Prescaler = 0;
    htim2.Init.CounterMode = TIM_COUNTERMODE_UP;
    htim2.Init.Period = 65535;
    htim2.Init.ClockDivision = TIM_CLOCKDIVISION_DIV1;
    htim2.Init.AutoReloadPreload = TIM_AUTORELOAD_PRELOAD_DISABLE;
    if (HAL_TIM_Base_Init(&htim2) != HAL_OK) {
        Error_Handler();
    }
    sClockSourceConfig.ClockSource = TIM_CLOCKSOURCE_INTERNAL;
    if (HAL_TIM_ConfigClockSource(&htim2, &sClockSourceConfig) != HAL_OK) {
        Error_Handler();
    }
    sMasterConfig.MasterOutputTrigger = TIM_TRGO_RESET;
    sMasterConfig.MasterSlaveMode = TIM_MASTERSLAVEMODE_DISABLE;
    if (HAL_TIMEx_MasterConfigSynchronization(&htim2, &sMasterConfig) != HAL_OK) {
        Error_Handler();
    }
}

static void MX_TIM3_Init(void) {

    TIM_ClockConfigTypeDef sClockSourceConfig = {0};
    TIM_MasterConfigTypeDef sMasterConfig = {0};

    htim3.Instance = TIM3;
    htim3.Init.Prescaler = 0;
    htim3.Init.CounterMode = TIM_COUNTERMODE_UP;
    htim3.Init.Period = 65535;
    htim3.Init.ClockDivision = TIM_CLOCKDIVISION_DIV1;
    htim3.Init.AutoReloadPreload = TIM_AUTORELOAD_PRELOAD_DISABLE;
    if (HAL_TIM_Base_Init(&htim3) != HAL_OK) {
        Error_Handler();
    }
    sClockSourceConfig.ClockSource = TIM_CLOCKSOURCE_INTERNAL;
    if (HAL_TIM_ConfigClockSource(&htim3, &sClockSourceConfig) != HAL_OK) {
        Error_Handler();
    }
    sMasterConfig.MasterOutputTrigger = TIM_TRGO_RESET;
    sMasterConfig.MasterSlaveMode = TIM_MASTERSLAVEMODE_DISABLE;
    if (HAL_TIMEx_MasterConfigSynchronization(&htim3, &sMasterConfig) != HAL_OK) {
        Error_Handler();
    }
}

static void MX_TIM4_Init(void) {

    TIM_ClockConfigTypeDef sClockSourceConfig = {0};
    TIM_MasterConfigTypeDef sMasterConfig = {0};

    htim4.Instance = TIM4;
    htim4.Init.Prescaler = 0;
    htim4.Init.CounterMode = TIM_COUNTERMODE_UP;
    htim4.Init.Period = 65535;
    htim4.Init.ClockDivision = TIM_CLOCKDIVISION_DIV1;
    htim4.Init.AutoReloadPreload = TIM_AUTORELOAD_PRELOAD_DISABLE;
    if (HAL_TIM_Base_Init(&htim4) != HAL_OK) {
        Error_Handler();
    }
    sClockSourceConfig.ClockSource = TIM_CLOCKSOURCE_INTERNAL;
    if (HAL_TIM_ConfigClockSource(&htim4, &sClockSourceConfig) != HAL_OK) {
        Error_Handler();
    }
    sMasterConfig.MasterOutputTrigger = TIM_TRGO_RESET;
    sMasterConfig.MasterSlaveMode = TIM_MASTERSLAVEMODE_DISABLE;
    if (HAL_TIMEx_MasterConfigSynchronization(&htim4, &sMasterConfig) != HAL_OK) {
        Error_Handler();
    }
}

static void MX_USART1_UART_Init(void) {

    huart1.Instance = USART1;
    huart1.Init.BaudRate = 9600;
    huart1.Init.WordLength = UART_WORDLENGTH_8B;
    huart1.Init.StopBits = UART_STOPBITS_1;
    huart1.Init.Parity = UART_PARITY_NONE;
    huart1.Init.Mode = UART_MODE_TX_RX;
    huart1.Init.HwFlowCtl = UART_HWCONTROL_NONE;
    huart1.Init.OverSampling = UART_OVERSAMPLING_16;
    if (HAL_UART_Init(&huart1) != HAL_OK) {
        Error_Handler();
    }
}

static void MX_USART2_UART_Init(void) {

    huart2.Instance = USART2;
    huart2.Init.BaudRate = 115200;
    huart2.Init.WordLength = UART_WORDLENGTH_8B;
    huart2.Init.StopBits = UART_STOPBITS_1;
    huart2.Init.Parity = UART_PARITY_NONE;
    huart2.Init.Mode = UART_MODE_TX_RX;
    huart2.Init.HwFlowCtl = UART_HWCONTROL_NONE;
    huart2.Init.OverSampling = UART_OVERSAMPLING_16;
    if (HAL_UART_Init(&huart2) != HAL_OK) {
        Error_Handler();
    }
}

static void MX_GPIO_Init(void) {
    GPIO_InitTypeDef GPIO_InitStruct = {0};

    /* GPIO Ports Clock Enable */
    __HAL_RCC_GPIOC_CLK_ENABLE();
    __HAL_RCC_GPIOH_CLK_ENABLE();
    __HAL_RCC_GPIOA_CLK_ENABLE();
    __HAL_RCC_GPIOB_CLK_ENABLE();

    /*Configure GPIO pin Output Level */
    HAL_GPIO_WritePin(LD2_GPIO_Port, LD2_Pin, GPIO_PIN_RESET);

    /*Configure GPIO pin : B1_Pin */
    GPIO_InitStruct.Pin = B1_Pin;
    GPIO_InitStruct.Mode = GPIO_MODE_IT_RISING;
    GPIO_InitStruct.Pull = GPIO_NOPULL;
    HAL_GPIO_Init(B1_GPIO_Port, &GPIO_InitStruct);

    /*Configure GPIO pin : LD2_Pin */
    GPIO_InitStruct.Pin = LD2_Pin;
    GPIO_InitStruct.Mode = GPIO_MODE_OUTPUT_PP;
    GPIO_InitStruct.Pull = GPIO_NOPULL;
    GPIO_InitStruct.Speed = GPIO_SPEED_FREQ_LOW;
    HAL_GPIO_Init(LD2_GPIO_Port, &GPIO_InitStruct);

}

void Error_Handler(void) {
    /* USER CODE BEGIN Error_Handler_Debug */
    /* User can add his own implementation to report the HAL error return state
     */
    __disable_irq();
    while (1) {}
    /* USER CODE END Error_Handler_Debug */
}

#ifdef USE_FULL_ASSERT
/**
 * @brief  Reports the name of the source file and the source line number
 *         where the assert_param error has occurred.
 * @param  file: pointer to the source file name
 * @param  line: assert_param error line source number
 * @retval None
 */
void assert_failed(uint8_t* file, uint32_t line) {
    /* USER CODE BEGIN 6 */
    /* User can add his own implementation to report the file name and line
       number, ex: printf("Wrong parameters value: file %s on line %d\r\n",
       file, line) */
    /* USER CODE END 6 */
}
#endif /* USE_FULL_ASSERT */
